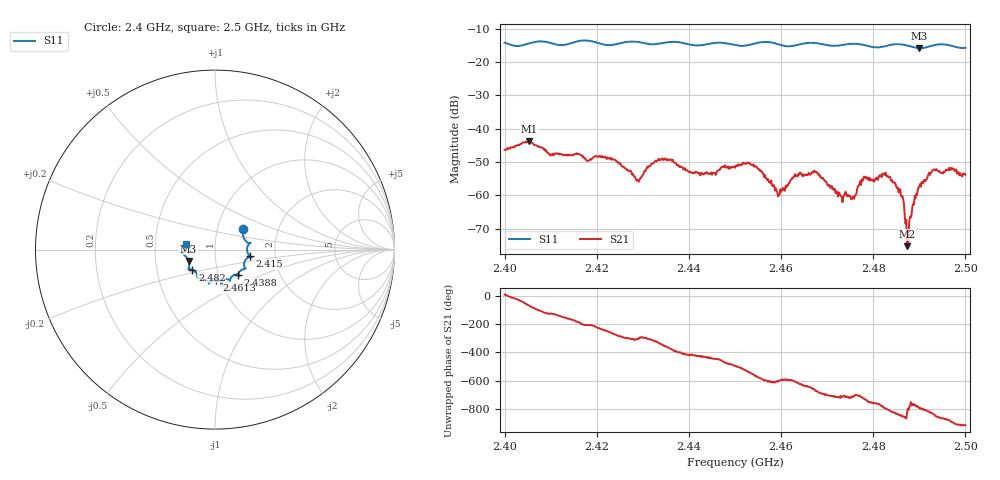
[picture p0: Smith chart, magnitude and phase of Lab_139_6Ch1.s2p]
# Hz S RI R 50
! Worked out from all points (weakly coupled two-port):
!   601 points, 2.4 GHz to 2.5 GHz, reference 50 ohm
!   highest |S21| = -43.89 dB at 2.4053 GHz (marker M1); lowest = -75.3 dB at 2.4873 GHz (marker M2)
!   lowest |S11| = -15.9 dB at 2.49 GHz (marker M3), VSWR 1.38, Z = 36.9 - j4.85 ohm
!   |S11| at or under -10 dB: start of sweep to end of sweep
!   S12 and S22 are empty: the file has one direction only
!   S11 on the Smith chart (normalised r, x): 2.4 GHz: 1.33, +0.31; 2.415 GHz: 1.47, -0.11; 2.4388 GHz: 1.24, -0.36; 2.4613 GHz: 0.96, -0.34; 2.482 GHz: 0.76, -0.17; 2.5 GHz: 0.72, +0.05
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2.4e9  0.1581 0.112  0.00475 0.000632  0 0  0 0
2.405333e9  0.1855 0.0369  0.0021 -0.00604  0 0  0 0
2.415e9  0.1925 -0.036  -0.00409 -0.000431  0 0  0 0
2.416667e9  0.2036 -0.0439  -0.00376 0.00134  0 0  0 0
2.4235e9  0.1619 -0.0786  -0.000181 0.00345  0 0  0 0
2.429e9  0.1678 -0.1063  0.000989 0.00132  0 0  0 0
2.433333e9  0.1322 -0.1315  0.00293 0.00161  0 0  0 0
2.438833e9  0.1297 -0.1405  0.00163 -0.00178  0 0  0 0
2.45e9  0.069 -0.1649  -0.00182 -0.00183  0 0  0 0
2.454167e9  0.034 -0.1845  -0.00255 0.000831  0 0  0 0
2.459167e9  0.0322 -0.1825  -0.000517 0.000988  0 0  0 0
2.461333e9  0.00765 -0.1711  -0.000805 0.00118  0 0  0 0
2.466667e9  -0.0349 -0.1901  0.000699 0.00207  0 0  0 0
2.475333e9  -0.0941 -0.1611  0.000857 0.000158  0 0  0 0
2.478e9  -0.098 -0.1496  0.0019 -0.000133  0 0  0 0
2.482e9  -0.1259 -0.1117  0.00116 -0.00176  0 0  0 0
2.483333e9  -0.1396 -0.1087  0.000151 -0.00183  0 0  0 0
2.486167e9  -0.1483 -0.1064  -0.000617 -0.000718  0 0  0 0
2.487333e9  -0.1451 -0.0993  -4.94e-05 -0.000165  0 0  0 0
2.49e9  -0.147 -0.064  0.000405 -0.00127  0 0  0 0
2.493333e9  -0.177 -0.025  -0.00117 -0.0021  0 0  0 0
2.5e9  -0.159 0.0325  -0.00198 0.000413  0 0  0 0
